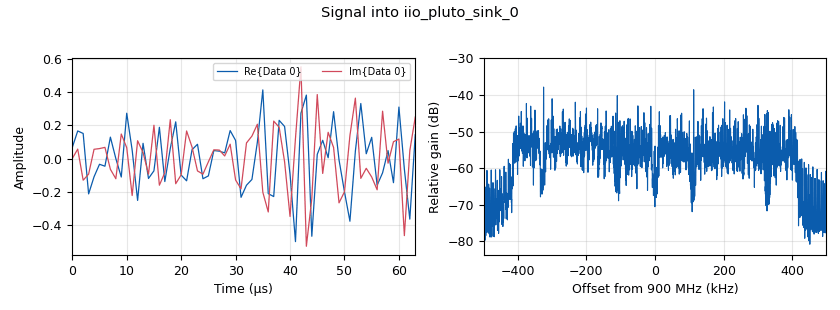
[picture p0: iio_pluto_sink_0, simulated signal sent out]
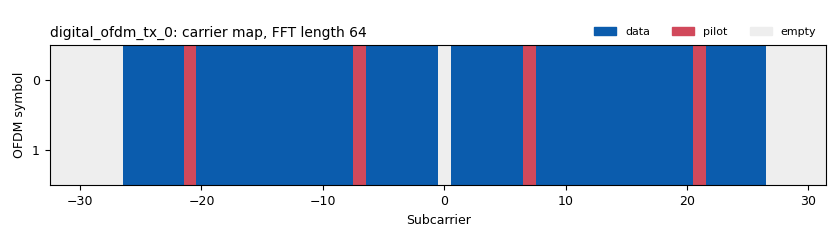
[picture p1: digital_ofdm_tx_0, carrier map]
options:
  parameters:
    category: Custom
    generate_options: qt_gui
    id: tx_ofdm
    output_language: python
    title: TX OFDM
  states: {}

blocks:
- name: fft_len
  id: variable
  parameters:
    value: '64'
  states: {}
- name: freqc
  id: variable
  parameters:
    value: 900e6
  states: {}
- name: header_equalizer
  id: variable
  parameters:
    value: digital.ofdm_equalizer_static(fft_len,  occupied_carriers, pilot_carriers, pilot_symbols,0,True)
  states: {}
- name: header_formatter
  id: variable
  parameters:
    value: digital.packet_header_ofdm(occupied_carriers, n_syms=1, len_tag_key=packet_length_tag_key, frame_len_tag_key=length_tag_key, bits_per_header_sym=header_mod.bits_per_symbol(), bits_per_payload_sym=payload_mod.bits_per_symbol(), scramble_header=False)
  states: {}
- name: header_mod
  id: variable
  parameters:
    value: digital.constellation_bpsk()
  states: {}
- name: length_tag_key
  id: variable
  parameters:
    value: '"frame_len"'
  states: {}
- name: num_syms
  id: variable_qtgui_range
  parameters:
    gui_hint: 10,0,1,8
    label: '# of Symbols per Pkt'
    orient: Qt.Horizontal
    start: '1'
    step: '1'
    stop: '8'
    value: '1'
  states: {}
- name: occupied_carriers
  id: variable
  parameters:
    value: (list(range(-26, -21)) + list(range(-20, -7)) + list(range(-6, 0)) + list(range(1, 7)) + list(range(8, 21)) + list(range(22, 27)),)
  states: {}
- name: offset
  id: variable
  parameters:
    value: '8'
  states: {}
- name: packet_len
  id: variable
  parameters:
    value: int(96/8 * num_syms)
  states: {}
- name: packet_length_tag_key
  id: variable
  parameters:
    value: '"packet_len"'
  states: {}
- name: payload_equalizer
  id: variable
  parameters:
    value: digital.ofdm_equalizer_static(fft_len,  occupied_carriers, pilot_carriers, pilot_symbols,0,True)
  states: {}
- name: payload_mod
  id: variable
  parameters:
    value: digital.constellation_qpsk()
  states: {}
- name: pilot_carriers
  id: variable
  parameters:
    value: ((-21, -7, 7, 21,),)
  states: {}
- name: pilot_symbols
  id: variable
  parameters:
    value: ((1, 1, 1, -1,),)
  states: {}
- name: rx_gain
  id: variable_qtgui_range
  parameters:
    gui_hint: 0,0,1,8
    label: RX Gain
    orient: Qt.Horizontal
    start: '0'
    step: '1'
    stop: '64'
    value: '30'
  states: {}
- name: samp_rate
  id: variable
  parameters:
    value: 1e6
  states: {}
- name: sync_word1
  id: variable
  parameters:
    value: '[0., 0., 0., 0., 0., 0., 0., 1.41421356, 0., -1.41421356, 0., 1.41421356, 0., -1.41421356, 0., -1.41421356, 0., -1.41421356, 0., 1.41421356, 0., -1.41421356, 0., 1.41421356, 0., -1.41421356, 0., -1.41421356, 0., -1.41421356, 0., -1.41421356, 0., 1.41421356, 0., -1.41421356, 0., 1.41421356, 0., 1.41421356, 0., 1.41421356, 0., -1.41421356, 0., 1.41421356, 0., 1.41421356, 0., 1.41421356, 0., -1.41421356, 0., 1.41421356, 0., 1.41421356, 0., 1.41421356, 0., 0., 0., 0., 0., 0.]'
  states: {}
- name: sync_word2
  id: variable
  parameters:
    value: '[0j, 0j, 0j, 0j, 0j, 0j, (-1+0j), (-1+0j), (-1+0j), (-1+0j), (1+0j), (1+0j), (-1+0j), (-1+0j), (-1+0j), (1+0j), (-1+0j), (1+0j), (1+0j), (1 +0j), (1+0j), (1+0j), (-1+0j), (-1+0j), (-1+0j), (-1+0j), (-1+0j), (1+0j), (-1+0j), (-1+0j), (1+0j), (-1+0j), 0j, (1+0j), (-1+0j), (1+0j), (1+0j), (1+0j), (-1+0j), (1+0j), (1+0j), (1+0j), (-1+0j), (1+0j), (1+0j), (1+0j), (1+0j), (-1+0j), (1+0j), (-1+0j), (-1+0j), (-1+0j), (1+0j), (-1+0j), (1+0j), (-1+0j), (-1+0j), (-1+0j), (-1+0j), 0j, 0j, 0j, 0j, 0j]'
  states: {}
- name: tx_amp
  id: variable_qtgui_range
  parameters:
    gui_hint: 1,0,1,8
    label: TX Amplitude
    orient: Qt.Horizontal
    start: '0'
    step: '.001'
    stop: '2'
    value: '1'
  states: {}
- name: analog_random_source_x_0
  id: analog_random_source_x
  parameters:
    max: '255'
    min: '0'
    num_samps: '1000'
    repeat: 'True'
    type: byte
  states: {}
- name: blocks_multiply_const_vxx_0
  id: blocks_multiply_const_vxx
  parameters:
    const: tx_amp/30
    type: complex
  states: {}
- name: blocks_stream_to_tagged_stream_0
  id: blocks_stream_to_tagged_stream
  parameters:
    len_tag_key: packet_length_tag_key
    packet_len: packet_len
    type: byte
  states: {}
- name: digital_ofdm_tx_0
  id: digital_ofdm_tx
  parameters:
    cp_len: fft_len//4
    fft_len: fft_len
    header_mod: '"BPSK"'
    occupied_carriers: occupied_carriers
    packet_len_key: packet_length_tag_key
    payload_mod: '"QPSK"'
    pilot_carriers: pilot_carriers
    pilot_symbols: pilot_symbols
    rolloff: '0'
    sync_word1: sync_word1
    sync_word2: sync_word2
  states: {}
- name: iio_pluto_sink_0
  id: iio_pluto_sink
  parameters:
    attenuation1: '10.0'
    auto_filter: 'True'
    bandwidth: '20000000'
    buffer_size: '32768'
    cyclic: 'False'
    frequency: int(freqc)
    samplerate: int(samp_rate)
    uri: usb:1.3.5
  states: {}
- name: iio_pluto_source_0
  id: iio_pluto_source
  parameters:
    auto_filter: 'True'
    bandwidth: '20000000'
    bbdc: 'True'
    buffer_size: '32768'
    frequency: int(freqc)
    gain1: '''manual'''
    manual_gain1: rx_gain
    quadrature: 'True'
    rfdc: 'True'
    samplerate: int(samp_rate*2)
    uri: usb:1.4.5
  states: {}
- name: import_0
  id: import
  parameters:
    imports: import numpy as np
  states: {}
- name: import_1
  id: import
  parameters:
    imports: from gnuradio.digital.utils import tagged_streams
  states: {}
- name: qtgui_freq_sink_x_0
  id: qtgui_freq_sink_x
  parameters:
    average: '0.1'
    bw: samp_rate*2
    ctrlpanel: 'True'
    fc: '0'
    fftsize: '1024'
    grid: 'True'
    gui_hint: 2,0,8,8
    type: complex
    wintype: firdes.WIN_BLACKMAN_hARRIS
    ymax: '-40'
    ymin: '-120'
  states: {}

connections:
- [analog_random_source_x_0, '0', blocks_stream_to_tagged_stream_0, '0']
- [blocks_multiply_const_vxx_0, '0', iio_pluto_sink_0, '0']
- [blocks_stream_to_tagged_stream_0, '0', digital_ofdm_tx_0, '0']
- [digital_ofdm_tx_0, '0', blocks_multiply_const_vxx_0, '0']
- [iio_pluto_source_0, '0', qtgui_freq_sink_x_0, '0']

metadata:
  file_format: 1
